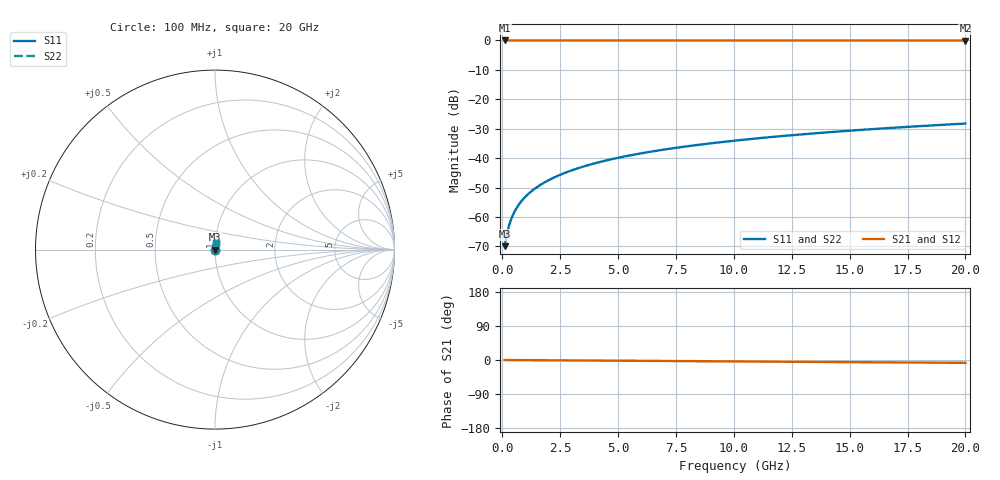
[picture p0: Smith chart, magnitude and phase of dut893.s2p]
! Touchstone file exported from HFSS 2026.1.0
!  File:  C:/ffzhzh/LocalFiles/Ansys_Project_Files/temp_train_TSV_893_1783185969_55132.aedt
!  Generated:  01:28:02 AM Jul  5, 2026
!  Design:  TSV
!  Project:  temp_train_TSV_893_1783185969_55132
! Variables:
!  h_bsmrdl = 2um
!  h_ox = 20um
!  h_rdl = 5um
!  h_sub = 69.77um
!  h_tmrdl = 5um
!  h_tsv = 69.77um
!  h_via = 3um
!  l_bsmrdl = 300um
!  l_sub = 413.28um
!  l_tmrdl = 200um
!  m_sub = 200um
!  pitch = 39.82um
!  r_tsv = 6.64um
!  s_tmrdl = 10um
!  w_bsmrdl = 18um
!  w_sub = 500um
!  w_tmrdl = 12um
!  x_tsv_center1 = 206um
!  x_tsv_center2 = 524um
!  x_tsv_center3 = 736um
!  x_tsv_center4 = 1054um
!  x_tsv_center5 = 1266um
!  x_tsv_center6 = 1584um
# GHz S MA R 50.000000
! Terminal data exported
! Port[1] = TSV1_1_T1
! Port[2] = TSV1_1_T2
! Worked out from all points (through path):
!   200 points, 100 MHz to 20 GHz, reference 50 ohm
!   highest |S21| = 0.00 dB at 100 MHz (marker M1); lowest = 0.0 dB at 20 GHz (marker M2)
!   group delay of S21, straight-line fit = 1.04 ps
!   lowest |S11| = -69.9 dB at 100 MHz (marker M3), VSWR 1.00, Z = 50 + j0.0235 ohm
!   |S11| at or under -10 dB: start of sweep to end of sweep
!   |S22| runs from -69.9 to -28.2 dB; largest |S21 - S12| = 3.3e-15
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0.1  0.0003199 47.2  0.9998 -0.0  0.9998 -0.0  0.0003199 47.2
! Gamma 0 0 0 0
! Port Impedance 50 0 50 0
0.2  0.0005196 64.0  0.9998 -0.1  0.9998 -0.1  0.0005196 64.0
0.3  0.000737 70.7  0.9998 -0.1  0.9998 -0.1  0.000737 70.7
0.4  0.0009565 74.0  0.9997 -0.2  0.9997 -0.2  0.0009565 74.0
0.5  0.001174 76.0  0.9997 -0.2  0.9997 -0.2  0.001174 76.0
0.6  0.001388 77.2  0.9997 -0.2  0.9997 -0.2  0.001388 77.2
0.7  0.001599 78.1  0.9997 -0.3  0.9997 -0.3  0.001599 78.1
0.8  0.001807 78.8  0.9997 -0.3  0.9997 -0.3  0.001807 78.8
1  0.002217 79.9  0.9996 -0.4  0.9996 -0.4  0.002217 79.9
1.4  0.003025 81.3  0.9996 -0.5  0.9996 -0.5  0.003025 81.3
1.7  0.003626 82.0  0.9995 -0.7  0.9995 -0.7  0.003626 82.0
2  0.004225 82.5  0.9995 -0.8  0.9995 -0.8  0.004225 82.5
2.7  0.005621 83.2  0.9994 -1.0  0.9994 -1.0  0.005621 83.2
3.5  0.007206 83.6  0.9993 -1.3  0.9993 -1.3  0.007206 83.6
4.2  0.008585 83.7  0.9993 -1.6  0.9993 -1.6  0.008585 83.7
5  0.01015 83.8  0.9992 -1.9  0.9992 -1.9  0.01015 83.8
6.8  0.01364 83.6  0.999 -2.6  0.999 -2.6  0.01364 83.6
8.3  0.01653 83.4  0.9989 -3.1  0.9989 -3.1  0.01653 83.4
10.1  0.01998 83.1  0.9987 -3.8  0.9987 -3.8  0.01998 83.1
13.4  0.02627 82.3  0.9984 -5.0  0.9984 -5.0  0.02627 82.3
16.7  0.03253 81.3  0.9981 -6.3  0.9981 -6.3  0.03253 81.3
20  0.03874 80.2  0.9977 -7.5  0.9977 -7.5  0.03874 80.2
